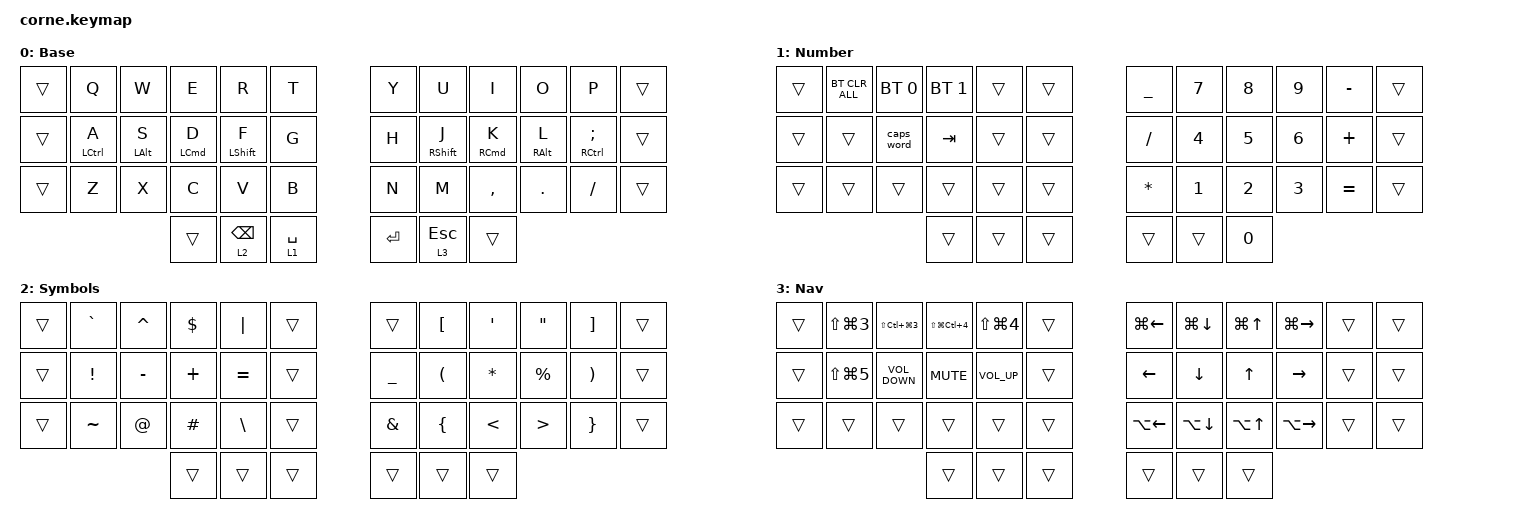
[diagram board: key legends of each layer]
/*
 * Copyright (c) 2020 The ZMK Contributors
 *
 * SPDX-License-Identifier: MIT
 */

#include <behaviors.dtsi>
#include <dt-bindings/zmk/bt.h>
#include <dt-bindings/zmk/keys.h>

/ {
    behaviors {
        kph: kph {
            compatible = "zmk,behavior-hold-tap";
            label = "KPH";
            bindings = <&kp>, <&kp>;

            #binding-cells = <2>;
            tapping-term-ms = <170>;
            quick-tap-ms = <200>;
            flavor = "tap-preferred";
        };

        kpmo: kpmo {
            compatible = "zmk,behavior-hold-tap";
            label = "KPMO";
            bindings = <&mo>, <&kp>;

            #binding-cells = <2>;
            tapping-term-ms = <170>;
            quick-tap-ms = <200>;
            flavor = "tap-preferred";
        };
    };

    keymap {
        compatible = "zmk,keymap";

        default_layer {
            // -----------------------------------------------------------------------------------------
            // |  TAB |  Q  |  W  |  E  |  R  |  T  |   |  Y  |  U   |  I  |  O  |  P  | BKSP |
            // | CTRL |  A  |  S  |  D  |  F  |  G  |   |  H  |  J   |  K  |  L  |  ;  |  '   |
            // | SHFT |  Z  |  X  |  C  |  V  |  B  |   |  N  |  M   |  ,  |  .  |  /  | ESC  |
            //                    | GUI | LWR | SPC |   | ENT | RSE  | ALT |

            display-name = "Base";
            bindings = <
&trans  &kp Q                &kp W            &kp E                &kp R              &kp T            &kp Y      &kp U               &kp I                 &kp O             &kp P                         &trans
&trans  &kph LEFT_CONTROL A  &kph LEFT_ALT S  &kph LEFT_COMMAND D  &kph LEFT_SHIFT F  &kp G            &kp H      &kph RIGHT_SHIFT J  &kph RIGHT_COMMAND K  &kph RIGHT_ALT L  &kph RIGHT_CONTROL SEMICOLON  &trans
&trans  &kp Z                &kp X            &kp C                &kp V              &kp B            &kp N      &kp M               &kp COMMA             &kp DOT           &kp FSLH                      &trans
                                              &trans               &kpmo 2 BACKSPACE  &kpmo 1 SPACE    &kp ENTER  &kpmo 3 ESC         &trans
            >;
        };

        Number {
            bindings = <
&trans  &bt BT_CLR_ALL  &bt BT_SEL 0  &bt BT_SEL 1  &trans  &trans    &kp UNDERSCORE  &kp N7  &kp N8  &kp N9  &kp MINUS  &trans
&trans  &trans          &caps_word    &kp TAB       &trans  &trans    &kp FSLH        &kp N4  &kp N5  &kp N6  &kp PLUS   &trans
&trans  &trans          &trans        &trans        &trans  &trans    &kp ASTERISK    &kp N1  &kp N2  &kp N3  &kp EQUAL  &trans
                                      &trans        &trans  &trans    &trans          &trans  &kp N0
            >;
        };

        Symbols {
            bindings = <
&trans  &kp GRAVE        &kp CARET    &kp DOLLAR  &kp PIPE       &trans    &trans          &kp LEFT_BRACKET      &kp SQT        &kp DOUBLE_QUOTES  &kp RIGHT_BRACKET      &trans
&trans  &kp EXCLAMATION  &kp MINUS    &kp PLUS    &kp EQUAL      &trans    &kp UNDERSCORE  &kp LEFT_PARENTHESIS  &kp ASTERISK   &kp PERCENT        &kp RIGHT_PARENTHESIS  &trans
&trans  &kp TILDE        &kp AT_SIGN  &kp HASH    &kp BACKSLASH  &trans    &kp AMPERSAND   &kp LEFT_BRACE        &kp LESS_THAN  &kp GREATER_THAN   &kp RIGHT_BRACE        &trans
                                      &trans      &trans         &trans    &trans          &trans                &trans
            >;
        };

        Nav {
            bindings = <
&trans  &kp LS(LG(NUMBER_3))  &kp LS(LC(LG(NUMBER_3)))  &kp LS(LG(LC(NUMBER_4)))  &kp LS(LG(NUMBER_4))  &trans    &kp LG(LEFT)  &kp LG(DOWN)  &kp LG(UP)  &kp LG(RIGHT)  &trans  &trans
&trans  &kp LS(LG(N5))        &kp C_VOLUME_DOWN         &kp K_MUTE                &kp C_VOL_UP          &trans    &kp LEFT      &kp DOWN      &kp UP      &kp RIGHT      &trans  &trans
&trans  &trans                &trans                    &trans                    &trans                &trans    &kp LA(LEFT)  &kp LA(DOWN)  &kp LA(UP)  &kp LA(RIGHT)  &trans  &trans
                                                        &trans                    &trans                &trans    &trans        &trans        &trans
            >;
        };
    };
};
